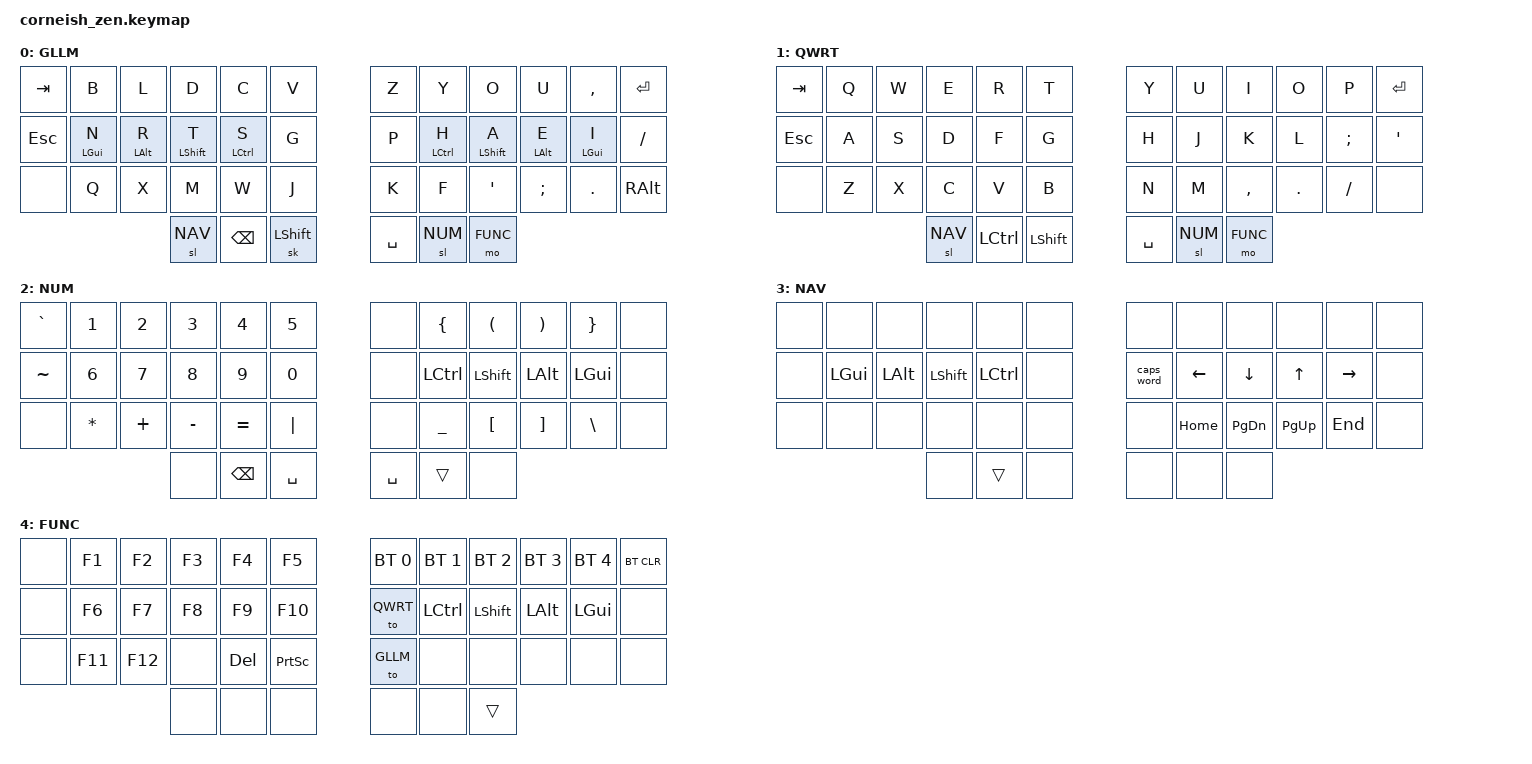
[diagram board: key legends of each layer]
#include <behaviors.dtsi>
#include <dt-bindings/zmk/keys.h>
#include <dt-bindings/zmk/bt.h>

#define GLLM 0
#define QWRT 1
#define NUM 2
#define NAV 3
#define FUNC 4

/ {
  chosen {
    zmk,matrix_transform = &default_transform;
  };
};

&sk {
    release-after-ms = <1000>;
    quick-release;
    ignore-modifiers;
};

&caps_word {
    continue-list = <UNDERSCORE MINUS BACKSPACE>;
};

/ {
  behaviors {
    lmt: left_mod_tap {
      compatible = "zmk,behavior-hold-tap";
      label = "LEFT_MOD_TAP";
      #binding-cells = <2>;
      flavor = "balanced";
      tapping-term-ms = <200>;
      bindings = <&kp>, <&kp>;
      hold-trigger-on-release;
      hold-trigger-key-positions = <
         6  7  8  9 10 11
        18 19 20 21 22 23
        30 31 32 33 34 35
        39 40 41
      >;
    };

    rmt: right_mod_tap {
      compatible = "zmk,behavior-hold-tap";
      label = "RIGHT_MOD_TAP";
      #binding-cells = <2>;
      flavor = "balanced";
      tapping-term-ms = <200>;
      bindings = <&kp>, <&kp>;
      hold-trigger-on-release;
      hold-trigger-key-positions = <
         0  1  2  3  4  5
        12 13 14 15 16 17
        24 25 26 27 28 29
                 36 37 38
      >;
    };
  };

  keymap {
    compatible = "zmk,keymap";

    gllm_layer {
      label = "GLLM";
      bindings = <
        &kp TAB &kp B       &kp L       &kp D        &kp C        &kp V     &kp Z &kp Y        &kp O        &kp U       &kp COMMA   &kp RET
        &kp ESC &lmt LGUI N &lmt LALT R &lmt LSHFT T &lmt LCTRL S &kp G     &kp P &rmt LCTRL H &rmt LSHFT A &rmt LALT E &rmt LGUI I &kp FSLH
        &none   &kp Q       &kp X       &kp M        &kp W        &kp J     &kp K &kp F        &kp SQT      &kp SEMI    &kp DOT     &kp RALT

        &sl NAV &kp BSPC &sk LSHFT     &kp SPACE &sl NUM &mo FUNC
      >;
    };

    qwrt_layer {
      label = "QWRT";
      bindings = <
        &kp TAB &kp Q &kp W &kp E &kp R &kp T     &kp Y &kp U &kp I     &kp O   &kp P    &kp RET
        &kp ESC &kp A &kp S &kp D &kp F &kp G     &kp H &kp J &kp K     &kp L   &kp SEMI &kp SQT
        &none   &kp Z &kp X &kp C &kp V &kp B     &kp N &kp M &kp COMMA &kp DOT &kp FSLH &none

        &sl NAV &kp LCTRL &kp LSHFT     &kp SPACE &sl NUM &mo FUNC
      >;
    };

    num_layer {
      label = "NUM";
      bindings = <
        &kp GRAVE &kp N1    &kp N2   &kp N3    &kp N4    &kp N5       &none &kp LBRC  &kp LPAR  &kp RPAR &kp RBRC &none
        &kp TILDE &kp N6    &kp N7   &kp N8    &kp N9    &kp N0       &none &kp LCTRL &kp LSHFT &kp LALT &kp LGUI &none
        &none     &kp STAR  &kp PLUS &kp MINUS &kp EQUAL &kp PIPE     &none &kp UNDER &kp LBKT  &kp RBKT &kp BSLH &none

        &none &kp BSPC &kp SPACE     &kp SPACE &trans &none
      >;
    };

    nav_layer {
      label = "NAV";
      bindings = <
        &none &none    &none    &none     &none     &none     &none      &none    &none      &none     &none     &none
        &none &kp LGUI &kp LALT &kp LSHFT &kp LCTRL &none     &caps_word &kp LEFT &kp DOWN   &kp UP    &kp RIGHT &none
        &none &none    &none    &none     &none     &none     &none      &kp HOME &kp PG_DN  &kp PG_UP &kp END   &none

        &none &trans &none     &none &none &none
      >;
    };

    func_layer {
      label = "FUNC";
      bindings = <
        &none &kp F1  &kp F2  &kp F3 &kp F4  &kp F5        &bt BT_SEL 0 &bt BT_SEL 1 &bt BT_SEL 2 &bt BT_SEL 3 &bt BT_SEL 4 &bt BT_CLR
        &none &kp F6  &kp F7  &kp F8 &kp F9  &kp F10       &to QWRT     &kp LCTRL    &kp LSHFT    &kp LALT     &kp LGUI     &none
        &none &kp F11 &kp F12 &none  &kp DEL &kp PSCRN     &to GLLM     &none        &none        &none        &none        &none

        &none &none &none     &none &none &trans
      >;
    };
  };
};
